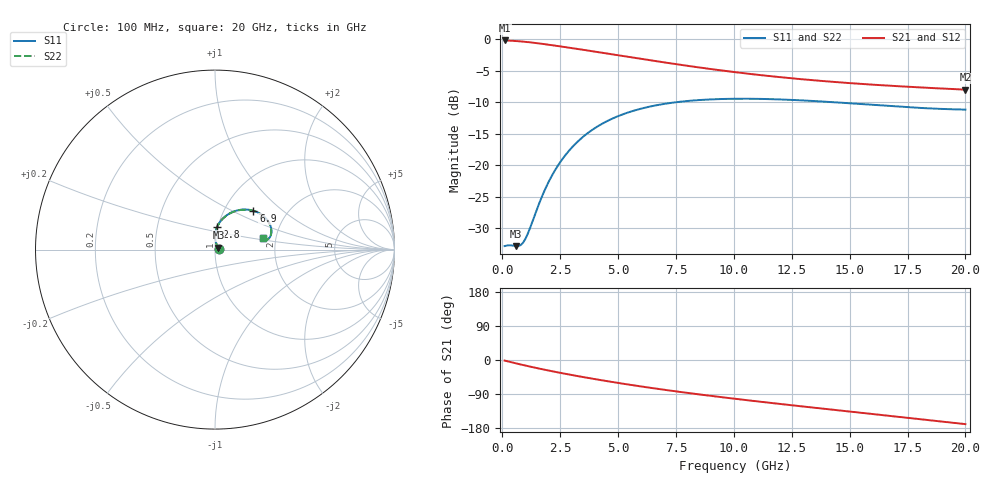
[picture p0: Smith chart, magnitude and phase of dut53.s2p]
! Touchstone file exported from HFSS 2024.1.0
!  File:  C:/UserFiles/LocalFiles/RDL_TSV_Batchsim/temp_RDL_TSV_53_1779407515.aedt
!  Generated:  08:04:10 AM May 22, 2026
!  Design:  RDL_TSV
!  Project:  temp_RDL_TSV_53_1779407515
!  Setup:  Setup1
!  Solution:  Sweep
! Variables:
!  dtsv = 11.83um
!  hbump = 3um
!  htsv = 55.51um
!  ldown = 502.78um
!  lrdl = 235.32um
!  p = 40
!  p1 = 46.13um
!  rhole = 10um
!  subl = 2449.62um
!  t = 450um
!  tdown = 2.26um
!  trdl = 3.51um
!  viad = 10um
!  wdown = 12.22um
!  wrdl = 27.14um
!  xbump = 18um
# GHz S MA R 50.000000
! Terminal data exported
! Port[1] = TM1_1_T1
! Port[2] = TM1_4_T1
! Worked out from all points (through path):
!   200 points, 100 MHz to 20 GHz, reference 50 ohm
!   highest |S21| = -0.20 dB at 100 MHz (marker M1); lowest = -8.0 dB at 20 GHz (marker M2)
!   group delay of S21, straight-line fit = 22.1 ps
!   lowest |S11| = -32.9 dB at 600 MHz (marker M3), VSWR 1.05, Z = 52 + j1.21 ohm
!   |S11| at or under -10 dB: start of sweep to 7.539 GHz; 14.25 GHz to end of sweep
!   |S22| runs from -32.9 to -9.5 dB; largest |S21 - S12| = 1.7e-14
!   S11 on the Smith chart (normalised r, x): 100 MHz: 1.05, +0.00; 2.8 GHz: 0.99, +0.25; 6.9 GHz: 1.36, +0.65; 20 GHz: 1.71, +0.24
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0.1  0.02273 5.3  0.977 -1.5  0.977 -1.5  0.02273 5.3
! Gamma 0 0 0 0
! Port Impedance 50 0 50 0
0.6  0.02269 30.8  0.9667 -9.0  0.9667 -9.0  0.0227 30.7
0.8  0.02317 45.5  0.9602 -11.9  0.9602 -11.9  0.02318 45.4
1  0.02597 61.4  0.9525 -14.7  0.9525 -14.7  0.02597 61.2
1.2  0.03168 74.3  0.9439 -17.4  0.9439 -17.4  0.03166 74.1
1.7  0.0555 88.6  0.9196 -24.0  0.9196 -24.0  0.0554 88.5
2  0.0734 90.0  0.9038 -27.8  0.9038 -27.8  0.07325 89.9
2.4  0.09893 88.4  0.8823 -32.7  0.8823 -32.7  0.09872 88.3
2.8  0.1249 85.1  0.8606 -37.3  0.8606 -37.3  0.1246 85.0
3.5  0.1684 77.7  0.823 -45.1  0.823 -45.1  0.168 77.6
4.2  0.2072 70.1  0.7862 -52.5  0.7862 -52.5  0.2068 70.0
4.9  0.2404 62.9  0.7506 -59.5  0.7506 -59.5  0.2398 62.8
5.8  0.2745 54.4  0.707 -68.0  0.707 -68.0  0.2738 54.4
6.8  0.302 46.2  0.6622 -76.9  0.6622 -76.9  0.3012 46.1
6.9  0.3042 45.4  0.658 -77.8  0.658 -77.8  0.3034 45.3
8.4  0.3274 35.3  0.5997 -90.0  0.5997 -90.0  0.3266 35.2
10.1  0.3364 26.3  0.5458 -102.7  0.5458 -102.7  0.3354 26.2
11.7  0.3335 19.9  0.5057 -114.0  0.5057 -114.0  0.3325 19.8
13.4  0.3231 15.0  0.4724 -125.4  0.4724 -125.4  0.3221 14.9
15  0.3097 12.1  0.4479 -136.0  0.4479 -136.0  0.3085 12.0
16.7  0.2947 10.9  0.4273 -147.2  0.4273 -147.2  0.2935 10.8
20  0.2759 13.5  0.3974 -169.2  0.3974 -169.2  0.2747 13.4
